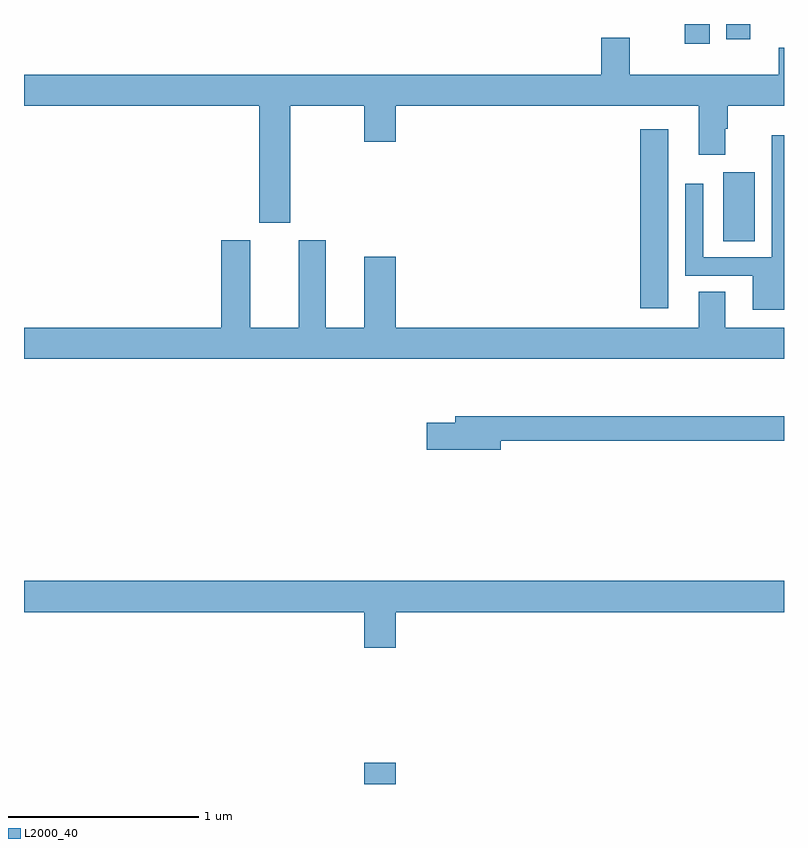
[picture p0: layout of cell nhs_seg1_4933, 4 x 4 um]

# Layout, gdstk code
import gdstk
lib = gdstk.Library(unit=1e-6, precision=1e-09)
def R(c, l, rs):  # rectangles x0, y0, x1, y1
    for r in rs: c.add(gdstk.rectangle(r[:2], r[2:], *l))
def P(c, l, *ps):  # polygons
    for p in ps: c.add(gdstk.Polygon(p, *l))
L2000_40 = (2000, 40)

nhs_seg1_4933 = lib.new_cell('nhs_seg1_4933')
R(nhs_seg1_4933, L2000_40, [(380.792,512.199,380.956,512.311), (382.244,514.704,382.39,515.644), (382.679,515.056,382.846,515.419), (382.478,516.096,382.609,516.199), (382.697,516.12,382.822,516.199)])
P(nhs_seg1_4933, L2000_40, [(380.401,515.768),(380.792,515.768),(380.792,515.58),(380.956,515.58),(380.956,515.768),(382.55,515.768),(382.55,515.511),(382.69,515.511),(382.69,515.648),(382.703,515.648),(382.703,515.768),(383,515.768),(383,516.073),(382.973,516.073),(382.973,515.932),(382.189,515.932),(382.189,516.127),(382.037,516.127),(382.037,515.932),(379,515.932),(379,515.768),(380.237,515.768),(380.237,515.154),(380.401,515.154)],
  [(383,515.614),(382.935,515.614),(382.935,514.971),(382.575,514.971),(382.575,515.359),(382.479,515.359),(382.479,514.875),(382.835,514.875),(382.835,514.694),(383,514.694)],
  [(383,514.6),(382.69,514.6),(382.69,514.79),(382.55,514.79),(382.55,514.6),(380.956,514.6),(380.956,514.975),(380.792,514.975),(380.792,514.6),(380.587,514.6),(380.587,515.062),(380.447,515.062),(380.447,514.6),(380.191,514.6),(380.191,515.062),(380.039,515.062),(380.039,514.6),(379,514.6),(379,514.436),(383,514.436)],
  [(381.508,514.006),(383,514.006),(383,514.135),(381.269,514.135),(381.269,514.101),(381.12,514.101),(381.12,513.959),(381.508,513.959)],
  [(380.956,513.104),(383,513.104),(383,513.268),(379,513.268),(379,513.104),(380.792,513.104),(380.792,512.916),(380.956,512.916)])

lib.write_gds('nhs_seg1_4933.gds')
